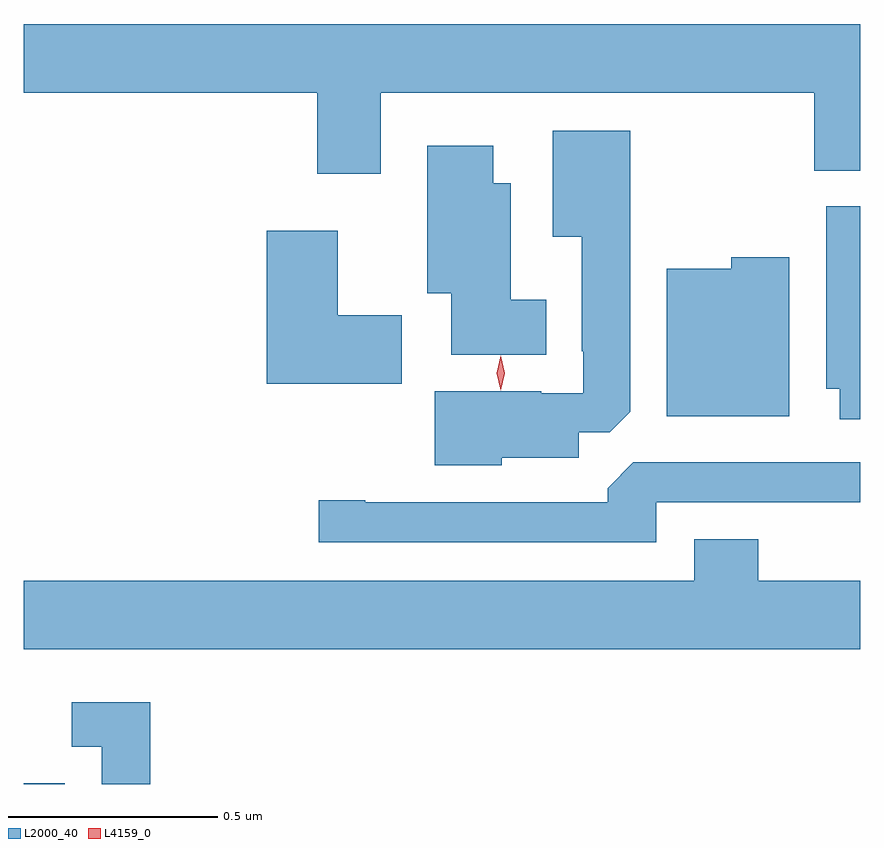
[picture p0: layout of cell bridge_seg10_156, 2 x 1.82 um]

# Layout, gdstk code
import gdstk
lib = gdstk.Library(unit=1e-6, precision=1e-09)
def R(c, l, rs):  # rectangles x0, y0, x1, y1
    for r in rs: c.add(gdstk.rectangle(r[:2], r[2:], *l))
def P(c, l, *ps):  # polygons
    for p in ps: c.add(gdstk.Polygon(p, *l))
L2000_40 = (2000, 40)
L4159_0 = (4159, 0)

bridge_seg10_156 = lib.new_cell('bridge_seg10_156')
R(bridge_seg10_156, L2000_40, [(268.881,1256.038,268.978,1256.04)])
P(bridge_seg10_156, L2000_40, [(269.734,1257.692),(270.772,1257.692),(270.772,1257.505),(270.881,1257.505),(270.881,1257.856),(268.881,1257.856),(268.881,1257.692),(269.582,1257.692),(269.582,1257.498),(269.734,1257.498)],
  [(270.024,1256.819),(270.208,1256.819),(270.208,1256.88),(270.282,1256.88),(270.331,1256.929),(270.331,1257.601),(270.146,1257.601),(270.146,1257.347),(270.215,1257.347),(270.215,1257.073),(270.219,1257.073),(270.219,1256.973),(270.119,1256.973),(270.119,1256.977),(269.864,1256.977),(269.864,1256.801),(270.024,1256.801)],
  [(270.13,1257.196),(270.046,1257.196),(270.046,1257.475),(270.004,1257.475),(270.004,1257.565),(269.846,1257.565),(269.846,1257.212),(269.903,1257.212),(269.903,1257.065),(270.13,1257.065)],
  [(270.881,1257.42),(270.8,1257.42),(270.8,1256.984),(270.833,1256.984),(270.833,1256.91),(270.881,1256.91)],
  [(269.785,1257.159),(269.632,1257.159),(269.632,1257.361),(269.462,1257.361),(269.462,1256.996),(269.785,1256.996)],
  [(270.712,1257.298),(270.573,1257.298),(270.573,1257.271),(270.419,1257.271),(270.419,1256.918),(270.712,1256.918)],
  [(270.393,1256.712),(270.881,1256.712),(270.881,1256.808),(270.339,1256.808),(270.278,1256.746),(270.278,1256.712),(269.698,1256.712),(269.698,1256.717),(269.586,1256.717),(269.586,1256.616),(270.393,1256.616)],
  [(270.881,1256.524),(270.638,1256.524),(270.638,1256.623),(270.485,1256.623),(270.485,1256.524),(268.881,1256.524),(268.881,1256.36),(270.881,1256.36)],
  [(269.183,1256.233),(268.995,1256.233),(268.995,1256.127),(269.067,1256.127),(269.067,1256.038),(269.183,1256.038)])
P(bridge_seg10_156, L4159_0, [(270.022,1256.98),(270.022,1256.98),(270.012,1257.021),(270.021,1257.062),(270.021,1257.062),(270.021,1257.062),(270.031,1257.021),(270.022,1256.98)])

lib.write_gds('bridge_seg10_156.gds')
